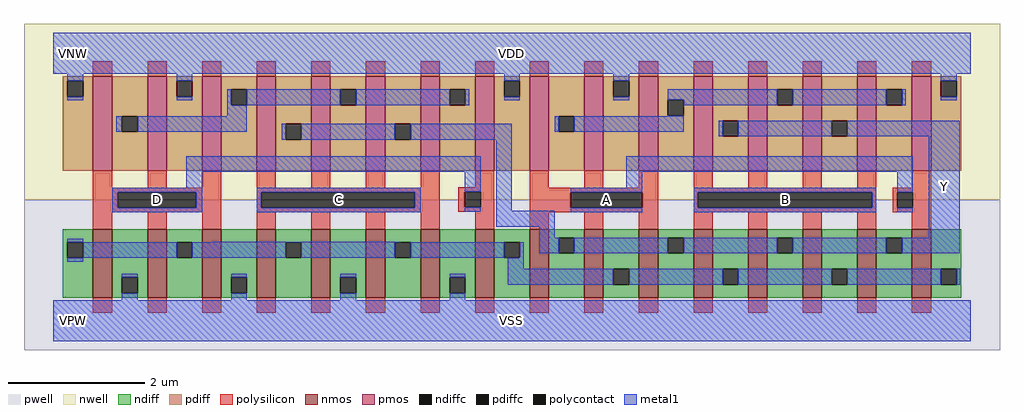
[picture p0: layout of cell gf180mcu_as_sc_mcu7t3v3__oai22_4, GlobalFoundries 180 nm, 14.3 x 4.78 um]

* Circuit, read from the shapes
.subckt gf180mcu_as_sc_mcu7t3v3__oai22_4 VDD VNW VPW VSS A B C D Y
XM1 VSS D n1 VPW nfet_03v3 w=1u l=0.28u m=4
XM2 n1 C VSS VPW nfet_03v3 w=1u l=0.28u m=4
XM3 Y A n1 VPW nfet_03v3 w=1u l=0.28u m=4
XM4 n1 B Y VPW nfet_03v3 w=1u l=0.28u m=4
XM5 n2 D VDD VNW pfet_03v3 w=1.38u l=0.28u m=4
XM6 Y C n2 VNW pfet_03v3 w=1.38u l=0.28u m=4
XM7 n3 A VDD VNW pfet_03v3 w=1.38u l=0.28u m=4
XM8 Y B n3 VNW pfet_03v3 w=1.38u l=0.28u m=4
.ends

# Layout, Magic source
magic
tech gf180mcuD
magscale 1 10
<< nwell >>
rect -86 354 2774 870
<< pwell >>
rect -86 -86 2774 354
<< nmos >>
rect 116 68 172 268
rect 276 68 332 268
rect 436 68 492 268
rect 596 68 652 268
rect 756 68 812 268
rect 916 68 972 268
rect 1076 68 1132 268
rect 1236 68 1292 268
rect 1396 68 1452 268
rect 1556 68 1612 268
rect 1716 68 1772 268
rect 1876 68 1932 268
rect 2036 68 2092 268
rect 2196 68 2252 268
rect 2356 68 2412 268
rect 2516 68 2572 268
<< pmos >>
rect 116 440 172 716
rect 276 440 332 716
rect 436 440 492 716
rect 596 440 652 716
rect 756 440 812 716
rect 916 440 972 716
rect 1076 440 1132 716
rect 1236 440 1292 716
rect 1396 440 1452 716
rect 1556 440 1612 716
rect 1716 440 1772 716
rect 1876 440 1932 716
rect 2036 440 2092 716
rect 2196 440 2252 716
rect 2356 440 2412 716
rect 2516 440 2572 716
<< ndiff >>
rect 28 230 116 268
rect 28 184 41 230
rect 87 184 116 230
rect 28 68 116 184
rect 172 127 276 268
rect 172 81 201 127
rect 247 81 276 127
rect 172 68 276 81
rect 332 230 436 268
rect 332 184 361 230
rect 407 184 436 230
rect 332 68 436 184
rect 492 127 596 268
rect 492 81 521 127
rect 567 81 596 127
rect 492 68 596 81
rect 652 230 756 268
rect 652 184 681 230
rect 727 184 756 230
rect 652 68 756 184
rect 812 127 916 268
rect 812 81 841 127
rect 887 81 916 127
rect 812 68 916 81
rect 972 230 1076 268
rect 972 184 1001 230
rect 1047 184 1076 230
rect 972 68 1076 184
rect 1132 127 1236 268
rect 1132 81 1161 127
rect 1207 81 1236 127
rect 1132 68 1236 81
rect 1292 230 1396 268
rect 1292 184 1321 230
rect 1367 184 1396 230
rect 1292 68 1396 184
rect 1452 244 1556 268
rect 1452 198 1481 244
rect 1527 198 1556 244
rect 1452 68 1556 198
rect 1612 152 1716 268
rect 1612 106 1641 152
rect 1687 106 1716 152
rect 1612 68 1716 106
rect 1772 244 1876 268
rect 1772 198 1801 244
rect 1847 198 1876 244
rect 1772 68 1876 198
rect 1932 152 2036 268
rect 1932 106 1961 152
rect 2007 106 2036 152
rect 1932 68 2036 106
rect 2092 244 2196 268
rect 2092 198 2121 244
rect 2167 198 2196 244
rect 2092 68 2196 198
rect 2252 152 2356 268
rect 2252 106 2281 152
rect 2327 106 2356 152
rect 2252 68 2356 106
rect 2412 244 2516 268
rect 2412 198 2441 244
rect 2487 198 2516 244
rect 2412 68 2516 198
rect 2572 152 2660 268
rect 2572 106 2601 152
rect 2647 106 2660 152
rect 2572 68 2660 106
<< pdiff >>
rect 28 703 116 716
rect 28 657 41 703
rect 87 657 116 703
rect 28 440 116 657
rect 172 600 276 716
rect 172 554 201 600
rect 247 554 276 600
rect 172 440 276 554
rect 332 703 436 716
rect 332 657 361 703
rect 407 657 436 703
rect 332 440 436 657
rect 492 678 596 716
rect 492 632 521 678
rect 567 632 596 678
rect 492 440 596 632
rect 652 577 756 716
rect 652 531 681 577
rect 727 531 756 577
rect 652 440 756 531
rect 812 678 916 716
rect 812 632 841 678
rect 887 632 916 678
rect 812 440 916 632
rect 972 577 1076 716
rect 972 531 1001 577
rect 1047 531 1076 577
rect 972 440 1076 531
rect 1132 678 1236 716
rect 1132 632 1161 678
rect 1207 632 1236 678
rect 1132 440 1236 632
rect 1292 703 1396 716
rect 1292 657 1321 703
rect 1367 657 1396 703
rect 1292 440 1396 657
rect 1452 600 1556 716
rect 1452 554 1481 600
rect 1527 554 1556 600
rect 1452 440 1556 554
rect 1612 703 1716 716
rect 1612 657 1641 703
rect 1687 657 1716 703
rect 1612 440 1716 657
rect 1772 647 1876 716
rect 1772 601 1801 647
rect 1847 601 1876 647
rect 1772 440 1876 601
rect 1932 586 2036 716
rect 1932 540 1961 586
rect 2007 540 2036 586
rect 1932 440 2036 540
rect 2092 678 2196 716
rect 2092 632 2121 678
rect 2167 632 2196 678
rect 2092 440 2196 632
rect 2252 586 2356 716
rect 2252 540 2281 586
rect 2327 540 2356 586
rect 2252 440 2356 540
rect 2412 678 2516 716
rect 2412 632 2441 678
rect 2487 632 2516 678
rect 2412 440 2516 632
rect 2572 703 2660 716
rect 2572 657 2601 703
rect 2647 657 2660 703
rect 2572 440 2660 657
<< ndiffc >>
rect 41 184 87 230
rect 201 81 247 127
rect 361 184 407 230
rect 521 81 567 127
rect 681 184 727 230
rect 841 81 887 127
rect 1001 184 1047 230
rect 1161 81 1207 127
rect 1321 184 1367 230
rect 1481 198 1527 244
rect 1641 106 1687 152
rect 1801 198 1847 244
rect 1961 106 2007 152
rect 2121 198 2167 244
rect 2281 106 2327 152
rect 2441 198 2487 244
rect 2601 106 2647 152
<< pdiffc >>
rect 41 657 87 703
rect 201 554 247 600
rect 361 657 407 703
rect 521 632 567 678
rect 681 531 727 577
rect 841 632 887 678
rect 1001 531 1047 577
rect 1161 632 1207 678
rect 1321 657 1367 703
rect 1481 554 1527 600
rect 1641 657 1687 703
rect 1801 601 1847 647
rect 1961 540 2007 586
rect 2121 632 2167 678
rect 2281 540 2327 586
rect 2441 632 2487 678
rect 2601 657 2647 703
<< polysilicon >>
rect 116 716 172 760
rect 276 716 332 760
rect 436 716 492 760
rect 596 716 652 760
rect 756 716 812 760
rect 916 716 972 760
rect 1076 716 1132 760
rect 1236 716 1292 760
rect 1396 716 1452 760
rect 1556 716 1612 760
rect 1716 716 1772 760
rect 1876 716 1932 760
rect 2036 716 2092 760
rect 2196 716 2252 760
rect 2356 716 2412 760
rect 2516 716 2572 760
rect 116 390 172 440
rect 276 390 332 440
rect 436 390 492 440
rect 116 377 492 390
rect 116 331 189 377
rect 419 331 492 377
rect 116 318 492 331
rect 116 268 172 318
rect 276 268 332 318
rect 436 268 492 318
rect 596 390 652 440
rect 756 390 812 440
rect 916 390 972 440
rect 1076 390 1132 440
rect 1236 391 1292 440
rect 596 377 1132 390
rect 596 331 609 377
rect 1059 331 1132 377
rect 596 318 1132 331
rect 1187 378 1292 391
rect 1187 332 1206 378
rect 1252 332 1292 378
rect 1187 319 1292 332
rect 596 268 652 318
rect 756 268 812 318
rect 916 268 972 318
rect 1076 268 1132 318
rect 1236 268 1292 319
rect 1396 390 1452 440
rect 1556 390 1612 440
rect 1716 390 1772 440
rect 1396 377 1772 390
rect 1396 331 1516 377
rect 1725 331 1772 377
rect 1396 318 1772 331
rect 1396 268 1452 318
rect 1556 268 1612 318
rect 1716 268 1772 318
rect 1876 390 1932 440
rect 2036 390 2092 440
rect 2196 390 2252 440
rect 2356 390 2412 440
rect 2516 390 2572 440
rect 1876 377 2412 390
rect 1876 331 1889 377
rect 2399 331 2412 377
rect 1876 318 2412 331
rect 2460 377 2572 390
rect 2460 331 2473 377
rect 2519 331 2572 377
rect 2460 318 2572 331
rect 1876 268 1932 318
rect 2036 268 2092 318
rect 2196 268 2252 318
rect 2356 268 2412 318
rect 2516 268 2572 318
rect 116 24 172 68
rect 276 24 332 68
rect 436 24 492 68
rect 596 24 652 68
rect 756 24 812 68
rect 916 24 972 68
rect 1076 24 1132 68
rect 1236 24 1292 68
rect 1396 24 1452 68
rect 1556 24 1612 68
rect 1716 24 1772 68
rect 1876 24 1932 68
rect 2036 24 2092 68
rect 2196 24 2252 68
rect 2356 24 2412 68
rect 2516 24 2572 68
<< polycontact >>
rect 189 331 419 377
rect 609 331 1059 377
rect 1206 332 1252 378
rect 1516 331 1725 377
rect 1889 331 2399 377
rect 2473 331 2519 377
<< metal1 >>
rect 0 724 2688 844
rect 41 703 87 724
rect 41 646 87 657
rect 361 703 407 724
rect 1321 703 1367 724
rect 361 646 407 657
rect 510 632 521 678
rect 567 632 841 678
rect 887 632 1161 678
rect 1207 632 1218 678
rect 1321 646 1367 657
rect 1641 703 1687 724
rect 2601 703 2647 724
rect 1641 646 1687 657
rect 1801 647 2121 678
rect 510 600 567 632
rect 1847 632 2121 647
rect 2167 632 2441 678
rect 2487 632 2498 678
rect 2601 646 2647 657
rect 1801 600 1847 601
rect 185 554 201 600
rect 247 554 567 600
rect 670 531 681 577
rect 727 531 1001 577
rect 1047 531 1344 577
rect 1470 554 1481 600
rect 1527 554 1847 600
rect 1950 540 1961 586
rect 2007 540 2281 586
rect 2327 540 2656 586
rect 390 436 1252 482
rect 390 390 436 436
rect 172 377 436 390
rect 172 331 189 377
rect 419 331 436 377
rect 172 318 436 331
rect 596 377 1076 390
rect 596 331 609 377
rect 1059 331 1076 377
rect 596 318 1076 331
rect 1206 378 1252 436
rect 1206 319 1252 332
rect 1298 322 1344 531
rect 1679 436 2519 482
rect 1679 390 1725 436
rect 1516 377 1725 390
rect 1298 276 1470 322
rect 1516 318 1725 331
rect 1876 377 2412 390
rect 1876 331 1889 377
rect 2399 331 2412 377
rect 1876 318 2412 331
rect 2473 377 2519 436
rect 2473 318 2519 331
rect 1424 244 1470 276
rect 2565 244 2656 540
rect 41 230 87 241
rect 464 230 1013 231
rect 87 184 361 230
rect 407 184 681 230
rect 727 184 1001 230
rect 1047 184 1321 230
rect 1367 184 1378 230
rect 1424 198 1481 244
rect 1527 198 1801 244
rect 1847 198 2121 244
rect 2167 198 2441 244
rect 2487 198 2656 244
rect 41 173 87 184
rect 1332 152 1378 184
rect 201 127 247 138
rect 201 60 247 81
rect 521 127 567 138
rect 521 60 567 81
rect 841 127 887 138
rect 841 60 887 81
rect 1161 127 1207 138
rect 1332 106 1641 152
rect 1687 106 1961 152
rect 2007 106 2281 152
rect 2327 106 2601 152
rect 2647 106 2658 152
rect 1161 60 1207 81
rect 0 -60 2688 60
<< labels >>
flabel metal1 s 0 724 2688 844 0 FreeSans 400 0 0 0 VDD
port 1 nsew power bidirectional abutment
flabel metal1 s 0 -60 2688 60 0 FreeSans 400 0 0 0 VSS
port 4 nsew ground bidirectional abutment
flabel nwell s 10 734 110 834 0 FreeSans 400 0 0 0 VNW
port 2 nsew power bidirectional
flabel pwell s 10 -50 110 50 0 FreeSans 400 0 0 0 VPW
port 3 nsew ground bidirectional
flabel metal1 172 318 436 390 0 FreeSans 200 0 0 0 D
port 8 nsew signal input
flabel metal1 596 318 1076 390 0 FreeSans 200 0 0 0 C
port 7 nsew signal input
flabel metal1 1516 318 1725 390 0 FreeSans 200 0 0 0 A
port 5 nsew signal input
flabel metal1 1876 318 2412 390 0 FreeSans 200 0 0 0 B
port 6 nsew signal input
flabel metal1 2565 198 2656 586 0 FreeSans 200 0 0 0 Y
port 9 nsew signal output
<< properties >>
string FIXED_BBOX 0 0 2688 784
string LEFclass CORE
string LEFsite unithd
string LEFsymmetry X Y
string MASKHINTS_NPLUS -16 -46 2704 354
string MASKHINTS_PPLUS -16 354 2704 830
<< end >>
